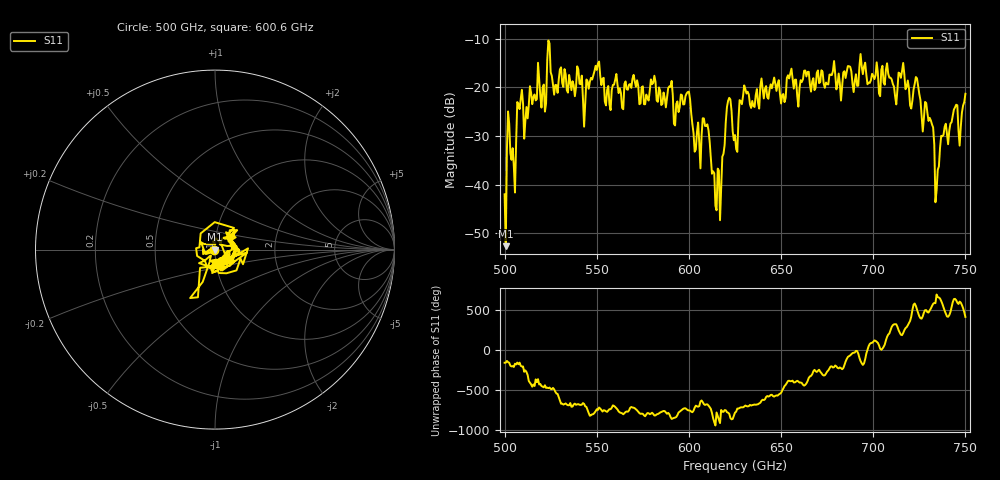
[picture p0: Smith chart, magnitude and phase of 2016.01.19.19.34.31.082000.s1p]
!Created with skrf (http://scikit-rf.org).
# GHz S RI R 50.0
!freq ReS11 ImS11
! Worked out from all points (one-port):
!   401 points, 500 GHz to 750 GHz, reference 50 ohm
!   lowest |S11| = -52.7 dB at 500.6 GHz (marker M1), VSWR 1.00, Z = 49.8 - j0.0776 ohm
!   |S11| at or under -10 dB: start of sweep to end of sweep
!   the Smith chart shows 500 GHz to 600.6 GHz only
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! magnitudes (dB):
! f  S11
! 500 GHz  -42.0
! 500.6 GHz  -52.7
! 502.5 GHz  -27.5
! 505 GHz  -36.2
! 508.1 GHz  -24.5
! 521.2 GHz  -19.4
! 524.4 GHz  -11.0
! 527.5 GHz  -19.5
! 531.2 GHz  -19.1
! 543.8 GHz  -23.1
! 550 GHz  -16.4
! 562.5 GHz  -20.2
! 580.6 GHz  -19.1
! 593.8 GHz  -22.9
! 599.4 GHz  -21.0
! 605 GHz  -27.2
! 609.4 GHz  -27.9
! 615.6 GHz  -36.7
! 621.2 GHz  -22.8
! 625 GHz  -29.8
! 630.6 GHz  -20.4
! 656.2 GHz  -18.3
! 687.5 GHz  -15.8
! 718.8 GHz  -18.6
! 729.4 GHz  -25.2
! 735 GHz  -37.0
! 738.1 GHz  -29.8
! 750 GHz  -21.3
